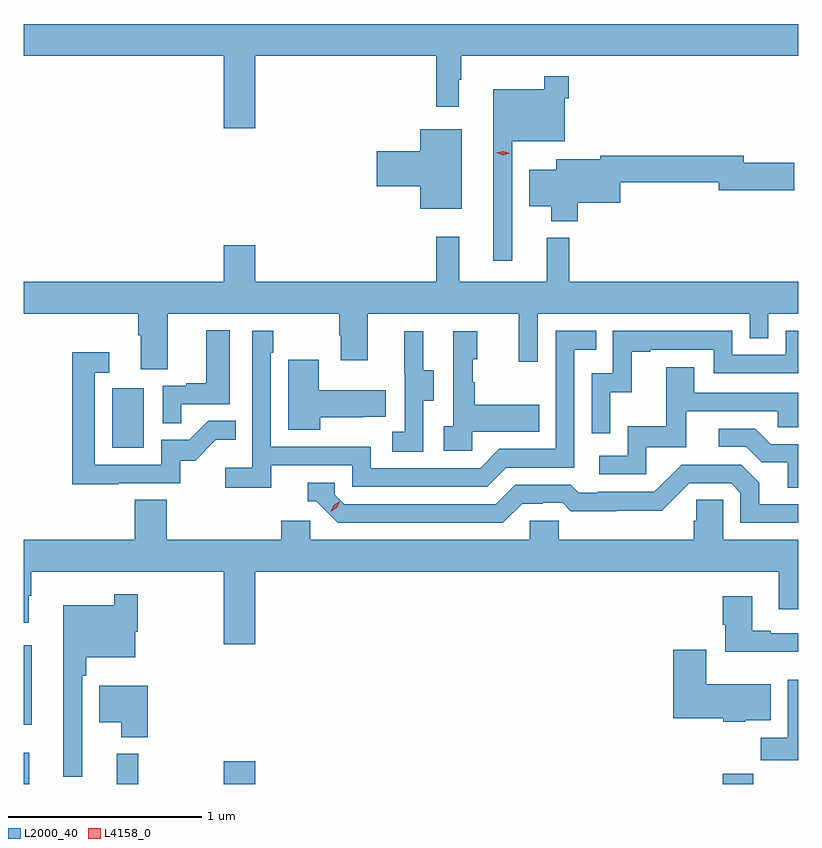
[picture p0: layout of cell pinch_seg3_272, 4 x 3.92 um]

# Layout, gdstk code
import gdstk
lib = gdstk.Library(unit=1e-6, precision=1e-09)
def R(c, l, rs):  # rectangles x0, y0, x1, y1
    for r in rs: c.add(gdstk.rectangle(r[:2], r[2:], *l))
def P(c, l, *ps):  # polygons
    for p in ps: c.add(gdstk.Polygon(p, *l))
L2000_40 = (2000, 40)
L4158_0 = (4158, 0)

pinch_seg3_272 = lib.new_cell('pinch_seg3_272')
R(pinch_seg3_272, L2000_40, [(895.243,710.476,895.271,710.638), (895.724,710.476,895.834,710.632), (896.276,710.476,896.44,710.593), (898.853,710.476,899.009,710.528), (895.243,710.783,895.285,711.193), (895.7,712.212,895.864,712.519)])
P(pinch_seg3_272, L2000_40, [(896.44,714.236),(897.373,714.236),(897.373,713.973),(897.49,713.973),(897.49,714.113),(897.502,714.113),(897.502,714.236),(899.243,714.236),(899.243,714.4),(895.243,714.4),(895.243,714.236),(896.276,714.236),(896.276,713.862),(896.44,713.862)],
  [(897.765,713.795),(898.038,713.795),(898.038,714.017),(898.058,714.017),(898.058,714.13),(897.93,714.13),(897.93,714.064),(897.668,714.064),(897.668,713.178),(897.765,713.178)],
  [(897.505,713.857),(897.29,713.857),(897.29,713.744),(897.066,713.744),(897.066,713.561),(897.29,713.561),(897.29,713.447),(897.505,713.447)],
  [(898.103,713.477),(898.324,713.477),(898.324,713.584),(898.832,713.584),(898.832,713.542),(899.221,713.542),(899.221,713.684),(898.96,713.684),(898.96,713.72),(898.22,713.72),(898.22,713.701),(897.992,713.701),(897.992,713.647),(897.854,713.647),(897.854,713.459),(897.968,713.459),(897.968,713.381),(898.103,713.381)],
  [(895.987,712.904),(896.872,712.904),(896.872,712.793),(896.879,712.793),(896.879,712.665),(897.019,712.665),(897.019,712.904),(897.8,712.904),(897.8,712.656),(897.897,712.656),(897.897,712.904),(898.992,712.904),(898.992,712.777),(899.088,712.777),(899.088,712.904),(899.243,712.904),(899.243,713.068),(898.061,713.068),(898.061,713.296),(897.944,713.296),(897.944,713.068),(897.491,713.068),(897.491,713.302),(897.373,713.302),(897.373,713.068),(896.44,713.068),(896.44,713.257),(896.276,713.257),(896.276,713.068),(895.243,713.068),(895.243,712.904),(895.835,712.904),(895.835,712.792),(895.847,712.792),(895.847,712.618),(895.987,712.618)],
  [(896.057,712.437),(896.308,712.437),(896.308,712.819),(896.186,712.819),(896.186,712.546),(896.083,712.546),(896.083,712.533),(895.962,712.533),(895.962,712.339),(896.057,712.339)],
  [(896.522,712.122),(896.94,712.122),(896.94,712.011),(897.637,712.011),(897.736,712.11),(898.086,712.11),(898.086,712.719),(898.199,712.719),(898.199,712.815),(897.99,712.815),(897.99,712.206),(897.699,712.206),(897.6,712.107),(897.036,712.107),(897.036,712.218),(896.52,712.218),(896.52,712.703),(896.533,712.703),(896.533,712.816),(896.424,712.816),(896.424,712.108),(896.283,712.108),(896.283,712.006),(896.522,712.006)],
  [(898.272,712.499),(898.382,712.499),(898.382,712.707),(898.477,712.707),(898.477,712.719),(898.806,712.719),(898.806,712.596),(899.243,712.596),(899.243,712.815),(899.178,712.815),(899.178,712.692),(898.902,712.692),(898.902,712.815),(898.284,712.815),(898.284,712.596),(898.176,712.596),(898.176,712.287),(898.272,712.287)],
  [(897.558,712.295),(897.905,712.295),(897.905,712.435),(897.571,712.435),(897.571,712.55),(897.561,712.55),(897.561,712.668),(897.586,712.668),(897.586,712.813),(897.462,712.813),(897.462,712.322),(897.411,712.322),(897.411,712.197),(897.558,712.197)],
  [(897.306,712.456),(897.361,712.456),(897.361,712.611),(897.307,712.611),(897.307,712.813),(897.209,712.813),(897.209,712.599),(897.21,712.599),(897.21,712.295),(897.147,712.295),(897.147,712.192),(897.306,712.192)],
  [(895.733,712.029),(896.052,712.029),(896.052,712.146),(896.128,712.146),(896.235,712.253),(896.339,712.253),(896.339,712.352),(896.196,712.352),(896.098,712.254),(895.953,712.254),(895.953,712.125),(895.611,712.125),(895.611,712.599),(895.684,712.599),(895.684,712.705),(895.495,712.705),(895.495,712.024),(895.733,712.024)],
  [(896.775,712.37),(897.005,712.37),(897.005,712.373),(897.113,712.373),(897.113,712.51),(896.767,712.51),(896.767,712.666),(896.609,712.666),(896.609,712.305),(896.775,712.305)],
  [(898.458,712.215),(898.663,712.215),(898.663,712.401),(899.137,712.401),(899.137,712.317),(899.243,712.317),(899.243,712.497),(898.705,712.497),(898.705,712.627),(898.561,712.627),(898.561,712.324),(898.362,712.324),(898.362,712.17),(898.215,712.17),(898.215,712.074),(898.458,712.074)],
  [(899.243,712.23),(899.101,712.23),(899.02,712.311),(898.833,712.311),(898.833,712.218),(898.974,712.218),(899.054,712.138),(899.189,712.138),(899.189,712.006),(899.243,712.006)],
  [(897.817,711.924),(897.924,711.924),(897.924,711.927),(898.027,711.927),(898.069,711.885),(898.302,711.885),(898.302,711.887),(898.538,711.887),(898.68,712.029),(898.896,712.029),(898.944,711.981),(898.944,711.825),(899.243,711.825),(899.243,711.921),(899.041,711.921),(899.041,712.031),(898.947,712.125),(898.641,712.125),(898.5,711.984),(898.207,711.984),(898.207,711.981),(898.108,711.981),(898.069,712.02),(897.78,712.02),(897.681,711.921),(896.898,711.921),(896.85,711.969),(896.85,712.032),(896.711,712.032),(896.711,711.936),(896.754,711.936),(896.865,711.825),(897.718,711.825)],
  [(896.44,711.572),(899.141,711.572),(899.141,711.378),(899.243,711.378),(899.243,711.736),(898.854,711.736),(898.854,711.944),(898.717,711.944),(898.717,711.834),(898.703,711.834),(898.703,711.736),(898.005,711.736),(898.005,711.834),(897.855,711.834),(897.855,711.736),(896.724,711.736),(896.724,711.834),(896.573,711.834),(896.573,711.736),(895.982,711.736),(895.982,711.944),(895.817,711.944),(895.817,711.736),(895.243,711.736),(895.243,711.309),(895.27,711.309),(895.27,711.449),(895.282,711.449),(895.282,711.572),(896.276,711.572),(896.276,711.198),(896.44,711.198)],
  [(895.545,711.035),(895.565,711.035),(895.565,711.131),(895.819,711.131),(895.819,711.261),(895.831,711.261),(895.831,711.457),(895.71,711.457),(895.71,711.4),(895.448,711.4),(895.448,710.514),(895.545,710.514)],
  [(899.243,711.255),(899.101,711.255),(899.101,711.268),(899.005,711.268),(899.005,711.445),(898.853,711.445),(898.853,711.297),(898.865,711.297),(898.865,711.158),(899.243,711.158)],
  [(898.968,710.804),(899.101,710.804),(899.101,710.992),(898.768,710.992),(898.768,711.169),(898.598,711.169),(898.598,710.816),(898.854,710.816),(898.854,710.798),(898.968,710.798)],
  [(899.243,711.013),(899.189,711.013),(899.189,710.716),(899.05,710.716),(899.05,710.598),(899.243,710.598)],
  [(895.883,710.983),(895.634,710.983),(895.634,710.795),(895.748,710.795),(895.748,710.717),(895.883,710.717)])
P(pinch_seg3_272, L4158_0, [(897.719,713.723),(897.684,713.734),(897.683,713.734),(897.684,713.735),(897.719,713.743),(897.754,713.732),(897.755,713.732),(897.754,713.732)],
  [(896.828,711.882),(896.828,711.882),(896.844,711.915),(896.874,711.935),(896.874,711.935),(896.874,711.935),(896.859,711.902),(896.828,711.882)])

lib.write_gds('pinch_seg3_272.gds')
